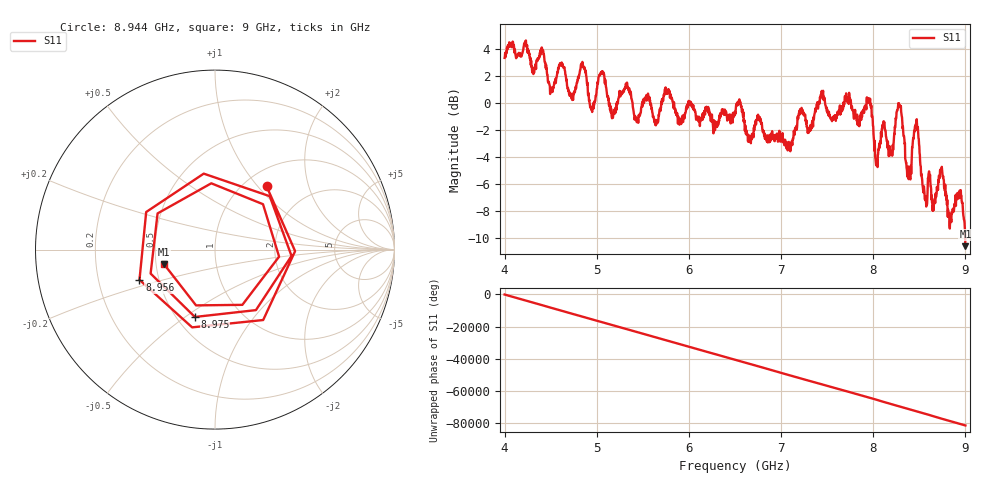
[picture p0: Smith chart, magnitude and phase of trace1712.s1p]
! Created with skrf 1.8.0 (http://scikit-rf.org).
# Hz S RI R 50.0
!freq ReS11 ImS11
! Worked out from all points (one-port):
!   1601 points, 4 GHz to 9 GHz, reference 50 ohm
!   lowest |S11| = -10.6 dB at 9 GHz (marker M1), VSWR 1.84, Z = 27.6 - j5.01 ohm
!   |S11| at or under -10 dB: 8.998041 GHz to end of sweep
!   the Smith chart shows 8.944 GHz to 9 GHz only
!   S11 on the Smith chart (normalised r, x): 8.944 GHz: 1.25, +1.12; 8.956 GHz: 0.39, -0.16; 8.975 GHz: 0.61, -0.54; 9 GHz: 0.55, -0.10
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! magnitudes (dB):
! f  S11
! 4 GHz  3.4
! 4.406 GHz  4.1
! 4.509 GHz  0.9
! 4.625 GHz  2.8
! 4.725 GHz  0.3
! 4.844 GHz  3.1
! 4.947 GHz  -0.4
! 5.053 GHz  2.2
! 5.159 GHz  -0.7
! 5.25 GHz  0.5
! 5.875 GHz  -1.0
! 6.5 GHz  -0.6
! 7.125 GHz  -2.7
! 7.447 GHz  0.8
! 7.75 GHz  0.2
! 7.956 GHz  0.0
! 8.038 GHz  -4.6
! 8.109 GHz  -1.7
! 8.194 GHz  -3.7
! 8.288 GHz  -0.3
! 8.375 GHz  -5.0
! 8.466 GHz  -1.6
! 8.562 GHz  -7.1
! 8.738 GHz  -4.9
! 8.944 GHz  -6.8
! 8.956 GHz  -6.9
! 8.975 GHz  -8.1
! 9 GHz  -10.6
